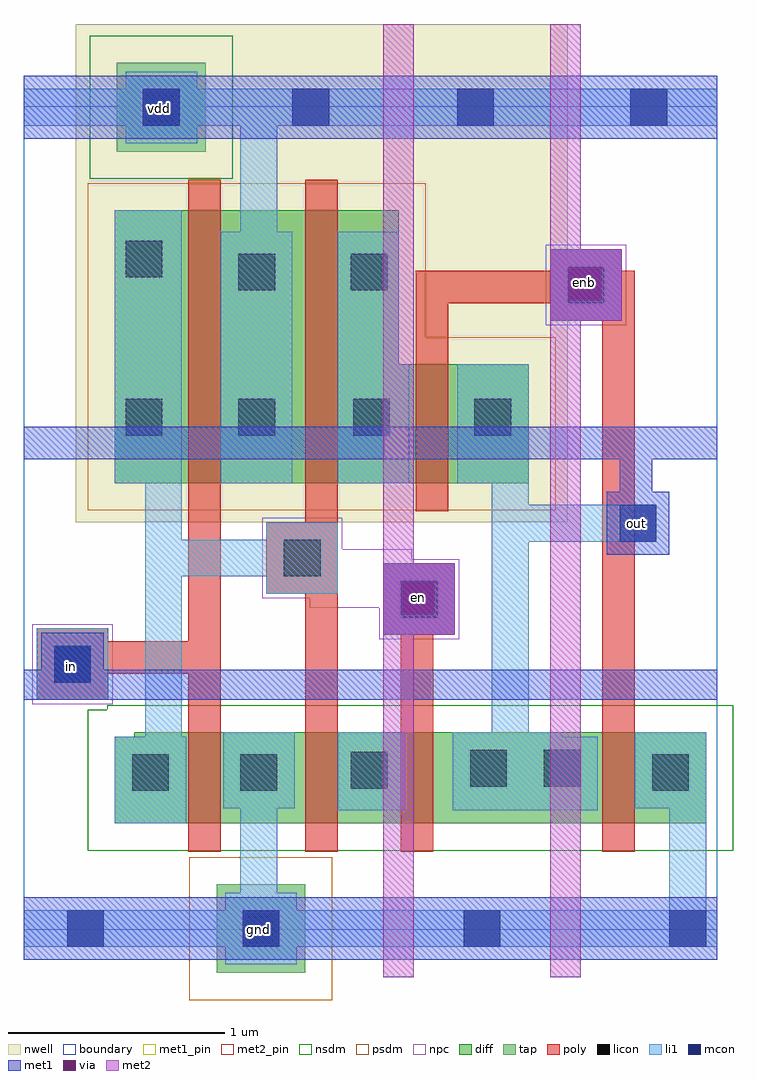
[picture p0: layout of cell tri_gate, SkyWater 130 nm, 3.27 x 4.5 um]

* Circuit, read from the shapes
.subckt tri_gate en enb gnd in out vdd
XM1 gnd in n1 gnd sky130_fd_pr__nfet_01v8 w=0.42 l=0.15
XM2 n2 n1 gnd gnd sky130_fd_pr__nfet_01v8 w=0.42 l=0.15
XM3 out en n2 gnd sky130_fd_pr__nfet_01v8 w=0.42 l=0.15
XM4 gnd enb out gnd sky130_fd_pr__nfet_01v8 w=0.42 l=0.15
XM5 vdd in n1 vdd sky130_fd_pr__pfet_01v8 w=1.26 l=0.15
XM6 n3 n1 vdd vdd sky130_fd_pr__pfet_01v8 w=1.26 l=0.15
XM7 out enb n3 vdd sky130_fd_pr__pfet_01v8 w=0.55 l=0.15
.ends

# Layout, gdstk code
import gdstk
lib = gdstk.Library(unit=1e-6, precision=1e-09)
def R(c, l, rs):  # rectangles x0, y0, x1, y1
    for r in rs: c.add(gdstk.rectangle(r[:2], r[2:], *l))
nwell = (64, 20)
diff = (65, 20)
tap = (65, 44)
poly = (66, 20)
licon = (66, 44)
li1 = (67, 20)
mcon = (67, 44)
met1_pin = (68, 16)
met1 = (68, 20)
via = (68, 44)
met2_pin = (69, 16)
met2 = (69, 20)
nsdm = (93, 44)
psdm = (94, 20)
npc = (95, 20)
boundary = (235, 4)

tri_gate = lib.new_cell('tri_gate')
R(tri_gate, nwell, [(0.24,1.88,2.51,4.18)])
R(tri_gate, diff, [(0.42,0.49,3.15,0.89), (0.51,0.89,3.15,0.91), (0.42,2.06,2.33,2.61), (0.42,2.61,1.73,3.32)])
R(tri_gate, tap, [(0.89,-0.2,1.3,0.21), (0.43,3.59,0.84,4)])
R(tri_gate, poly, [(0.76,0.36,0.91,1.18), (1.3,0.36,1.45,1.55), (1.74,0.36,1.89,1.36), (2.67,0.36,2.82,2.81), (0.06,1.06,0.39,1.18), (0.06,1.18,0.91,1.33), (0.06,1.33,0.39,1.39), (0.76,1.33,0.91,3.46), (1.66,1.36,1.99,1.69), (1.12,1.55,1.45,1.88), (1.3,1.88,1.45,3.46), (1.81,1.93,1.96,2.89), (2.43,2.81,2.82,2.89), (1.81,2.89,2.82,3.04), (2.43,3.04,2.76,3.14)])
R(tri_gate, licon, [(1.01,-0.08,1.18,0.09), (0.5,0.64,0.67,0.81), (1,0.64,1.17,0.81), (2.9,0.64,3.07,0.81), (1.51,0.65,1.68,0.82), (2.06,0.66,2.23,0.83), (2.4,0.66,2.57,0.83), (0.14,1.14,0.31,1.31), (1.74,1.44,1.91,1.61), (1.2,1.63,1.37,1.8), (0.47,2.28,0.64,2.45), (0.99,2.28,1.16,2.45), (1.52,2.28,1.69,2.45), (2.08,2.28,2.25,2.45), (2.51,2.89,2.68,3.06), (0.99,2.95,1.16,3.12), (1.51,2.95,1.68,3.12), (0.47,3.01,0.64,3.18), (0.55,3.71,0.72,3.88)])
R(tri_gate, li1, [(0.93,-0.16,1.26,-0.08), (0,-0.08,3.2,0.09), (0.93,0.09,1.26,0.17), (2.98,0.09,3.15,0.56), (1,0.17,1.17,0.56), (0.42,0.49,0.75,0.89), (1.45,0.55,1.76,0.91), (1.98,0.55,2.65,0.89), (0.92,0.56,1.25,0.91), (2.82,0.56,3.15,0.91), (0.56,0.89,0.73,1.63), (1.98,0.89,2.48,0.91), (2.16,0.91,2.33,1.79), (0.06,1.06,0.39,1.39), (1.66,1.36,1.99,1.69), (1.12,1.55,1.45,1.63), (0.56,1.63,1.45,1.8), (2.16,1.79,2.92,1.96), (0.56,1.8,0.73,2.06), (1.12,1.8,1.45,1.88), (2.16,1.96,2.33,2.06), (0.42,2.06,0.73,3.32), (0.91,2.06,1.24,3.22), (1.45,2.06,1.78,2.61), (2,2.06,2.33,2.61), (1.45,2.61,1.73,3.22), (2.43,2.81,2.76,3.14), (1,3.22,1.17,3.71), (0.47,3.63,0.8,3.71), (0,3.71,3.2,3.88), (0.47,3.88,0.8,3.96)])
R(tri_gate, mcon, [(0.2,-0.08,0.37,0.09), (1.01,-0.08,1.18,0.09), (2.03,-0.08,2.2,0.09), (2.98,-0.08,3.15,0.09), (0.14,1.14,0.31,1.31), (1.74,1.44,1.91,1.61), (2.75,1.79,2.92,1.96), (2.51,2.89,2.68,3.06), (0.55,3.71,0.72,3.88), (1.24,3.71,1.41,3.88), (2,3.71,2.17,3.88), (2.8,3.71,2.97,3.88)])
R(tri_gate, met1_pin, [(1.02,-0.06,1.15,0.06), (0.15,1.15,0.29,1.28), (2.78,1.83,2.88,1.92), (0.56,3.73,0.69,3.85)])
R(tri_gate, met1, [(0,-0.14,3.2,0.15), (0,1.06,3.2,1.2), (0.08,1.2,0.37,1.37), (1.66,1.36,1.99,1.69), (2.69,1.73,2.98,2.02), (2.75,2.02,2.9,2.17), (0,2.17,3.2,2.32), (2.43,2.81,2.76,3.14), (0,3.65,3.2,3.94)])
R(tri_gate, via, [(1.745,1.455,1.895,1.605), (2.515,2.905,2.665,3.055)])
R(tri_gate, met2_pin, [(1.77,1.49,1.87,1.58), (2.54,2.94,2.64,3.03)])
R(tri_gate, met2, [(1.66,-0.22,1.8,1.36), (2.43,-0.22,2.57,2.81), (1.66,1.36,1.99,1.69), (1.66,1.69,1.8,4.18), (2.43,2.81,2.76,3.14), (2.43,3.14,2.57,4.18)])
R(tri_gate, nsdm, [(0.295,0.365,3.275,1.015), (0.385,1.015,3.275,1.035), (0.305,3.465,0.965,4.125)])
R(tri_gate, psdm, [(0.765,-0.325,1.425,0.335), (0.295,1.935,2.455,2.735), (0.295,2.735,1.855,3.445)])
R(tri_gate, npc, [(0.04,1.04,0.41,1.41), (1.64,1.34,2.01,1.485), (1.32,1.485,2.01,1.53), (1.1,1.53,2.01,1.71), (1.1,1.71,1.79,1.755), (1.1,1.755,1.47,1.9), (2.41,2.79,2.78,3.16)])
R(tri_gate, boundary, [(0,0,3.2,3.8)])
tri_gate.add(gdstk.Label('vdd', (0.625,3.79), layer=68, texttype=16))
tri_gate.add(gdstk.Label('gnd', (1.085,0), layer=68, texttype=16))
tri_gate.add(gdstk.Label('in', (0.22,1.215), layer=68, texttype=16))
tri_gate.add(gdstk.Label('out', (2.83,1.875), layer=68, texttype=16))
tri_gate.add(gdstk.Label('en', (1.82,1.535), layer=69, texttype=16))
tri_gate.add(gdstk.Label('enb', (2.59,2.985), layer=69, texttype=16))

lib.write_gds('tri_gate.gds')
